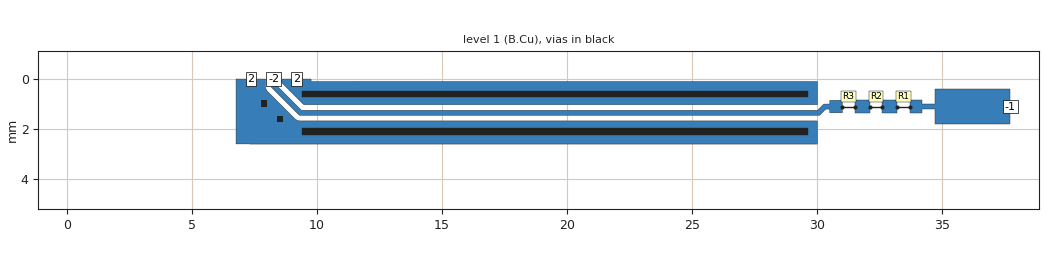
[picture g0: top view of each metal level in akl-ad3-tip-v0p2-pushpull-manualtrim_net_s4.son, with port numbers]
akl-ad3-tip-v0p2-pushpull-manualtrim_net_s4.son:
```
FTYP SONPROJ 19 ! Sonnet Project File
VER 18.01
HEADER
LIC antikernel2.1.51012 90e2ba8817c1 havequick azonenberg Level3Gold
DAT 09/28/2021 01:36:15
BUILT_BY_CREATED dxf 18.01 09/25/2021 05:46:11
BUILT_BY_SAVED sonnet 18.01
MDATE 09/28/2021 01:36:15
HDATE 09/28/2021 01:36:15
ANN Created by dxfgeo, Sonnet Software Inc.
END HEADER
DIM
ANG DEG
CAP PF
CON /OH
FREQ GHZ
IND NH
LNG MM
RES OH
END DIM
CONTROL
ABS
OPTIONS  -dj
SPEED 1
CACHE_ABS 2
Q_ACC N
END CONTROL
GEO
DRP1 RIGHT NONE 2
DRP1 TOP NONE 2
TMET "Free Space" 0 FREESPACE 376.7303136 0 0 0
BMET "Lossless" 0 SUP 0 0 0 0
MET "Copper 1oz thick" 1 TMM 58000000 0.5 0.035 2
MET "Unknown_metal" 1 VOL INF 0
BOX 2 37.75 4.075 3020 326 20 0
      5 1 1 0 0 0 0 "Air"
      0.035 4.3 1 0.02 0 0 0 "Soldermask"
      0.1016 3.2 1 0.002 0 0 0 "Panasonic R-F775"
TECHLAY METAL B.Cu L1D0 -1 -65534 
1 0 0 N 893 1 1 100 100 0 0 0 Y
END
END
TECHLAY VIA Via1 L2D0 -2 -65534 
VIA POLYGON
1 0 -1 N 899 1 1 100 100 0 0 0 Y
TOLEVEL 2 RING NOCOVERS
END
END
LORGN 0 160 U 
POR1 BOX
POLY 861 1
31
2 50 0 0 0 9.1875 0 
POR1 BOX
POLY 864 1
44
-2 50 0 0 0 8.275 0 
POR1 BOX
POLY 867 1
11
-1 50 0 0 0 37.75 1.1 
POR1 BOX
POLY 869 1
36
2 50 0 0 0 7.362985097 0 
SMD 1 "R1"
ID 913
GNDREF AUTO
SBOX 33.35 33.6 0.975 1.225
PBSHW N
LPOS 33.475 0.975
TYPE SPARAM 1
SMDP 1 33.725 1.1 R 3 1 
EXSMDP
GNDREF AUTO
TERMW FEED
END EXSMDP
SMDP 1 33.225 1.1 L 4 2 
EXSMDP
GNDREF AUTO
TERMW FEED
END EXSMDP
END
SMD 1 "R2"
ID 918
GNDREF AUTO
SBOX 32.25 32.5 0.975 1.225
PBSHW N
LPOS 32.375 0.975
TYPE SPARAM 1
SMDP 1 32.625 1.1 R 5 1 
EXSMDP
GNDREF AUTO
TERMW FEED
END EXSMDP
SMDP 1 32.125 1.1 L 6 2 
EXSMDP
GNDREF AUTO
TERMW FEED
END EXSMDP
END
SMD 1 "R3"
ID 923
GNDREF AUTO
SBOX 31.15 31.4 0.975 1.225
PBSHW N
LPOS 31.275 0.975
TYPE SPARAM 2
SMDP 1 31.525 1.1 R 7 1 
EXSMDP
GNDREF AUTO
TERMW FEED
END EXSMDP
SMDP 1 31.025 1.1 L 8 2 
EXSMDP
GNDREF AUTO
TERMW FEED
END EXSMDP
END
NUM 10
1 34 0 N 861 1 1 100 100 0 0 0 Y
TLAYNAM B.Cu INH
9.775 0.1
10.768 0.1
10.773 0.101
10.78 0.101
10.784 0.1
11.45 0.1
11.45 0.099
29.919 0.099
29.9245 0.1
30.026 0.1
30.026 1.025
29.9 1.025
29.9 1.025
9.524 1.025
9.515 1.024
9.504 1.022
9.494 1.019
9.484 1.015
9.479 1.012
9.473 1.009
9.467 1.004
9.465 1.003
9.456 0.996
8.63 0.17
8.616 0.152
8.611 0.142
8.607 0.132
8.604 0.121
8.602 0.111
8.602 0.109
8.6 0.099
8.6 0
9.775 0
9.775 0.1
END
1 5 0 N 863 1 1 100 100 0 0 0 Y
TLAYNAM B.Cu INH
32.625 0.85
32.625 1.35
33.225 1.35
33.225 0.85
32.625 0.85
END
1 47 0 N 864 1 1 100 100 0 0 0 Y
TLAYNAM B.Cu INH
8.375 0.234
9.391 1.25
30.034 1.25
30.258 1.026
30.265 1.02
30.274 1.014
30.282 1.009
30.291 1.006
30.301 1.003
30.31 1.001
30.32 1
30.525 1
30.525 0.85
31.025 0.85
31.025 1.35
30.525 1.35
30.525 1.2
30.366 1.2
30.155 1.41
30.149 1.417
30.142 1.424
30.135 1.43
30.126 1.436
30.118 1.441
30.109 1.444
30.099 1.447
30.09 1.449
30.08 1.45
9.345 1.45
9.335 1.449
9.326 1.447
9.316 1.444
9.307 1.441
9.299 1.436
9.29 1.43
9.283 1.424
8.201 0.342
8.195 0.335
8.189 0.326
8.184 0.318
8.181 0.309
8.178 0.299
8.176 0.29
8.175 0.28
8.175 0
8.375 0
8.375 0.234
END
1 5 0 N 866 1 1 100 100 0 0 0 Y
TLAYNAM B.Cu INH
31.525 0.85
31.525 1.35
32.125 1.35
32.125 0.85
31.525 0.85
END
1 13 0 N 867 1 1 100 100 0 0 0 Y
TLAYNAM B.Cu INH
37.75 1.8
34.725 1.8
34.725 1.2
34.225 1.2
34.225 1.35
33.725 1.35
33.725 0.85
34.225 0.85
34.225 1
34.725 1
34.725 0.4
37.75 0.4
37.75 1.8
END
1 39 0 N 869 1 1 100 100 0 0 0 Y
TLAYNAM B.Cu INH
7.951 0.26
7.949 0.271
7.949 0.273
7.956 0.342
7.973 0.401
8.004 0.457
8.031 0.491
8.034 0.494
8.04 0.502
8.044 0.506
8.044 0.507
8.045 0.508
8.047 0.509
8.05 0.511
8.056 0.516
9.109 1.569
9.114 1.576
9.115 1.577
9.148 1.604
9.155 1.611
9.167 1.621
9.228 1.653
9.283 1.669
9.323 1.674
9.335 1.674
9.346 1.676
9.347 1.676
9.365 1.674
29.919 1.674
29.9245 1.675
30.026 1.675
30.026 2.6
7.325 2.6
7.325 2.594
6.775 2.594
6.775 0.706
6.775 0
7.950970194 0
7.951 0.26
END
VIA POLYGON
1 5 -1 N 871 1 1 100 100 0 0 0 Y
TOLEVEL 2 RING NOCOVERS
TLAYNAM Via1 INH
9.4 0.475
9.4 0.725
29.65 0.725
29.65 0.475
9.4 0.475
END
VIA POLYGON
1 5 -1 N 872 1 1 100 100 0 0 0 Y
TOLEVEL 2 RING NOCOVERS
TLAYNAM Via1 INH
8.4 1.475
8.4 1.725
8.65 1.725
8.65 1.475
8.4 1.475
END
VIA POLYGON
1 5 -1 N 873 1 1 100 100 0 0 0 Y
TOLEVEL 2 RING NOCOVERS
TLAYNAM Via1 INH
9.4 1.975
9.4 2.225
29.65 2.225
29.65 1.975
9.4 1.975
END
VIA POLYGON
1 5 -1 N 874 1 1 100 100 0 0 0 Y
TOLEVEL 2 RING NOCOVERS
TLAYNAM Via1 INH
7.775 0.85
7.775 1.1
8.025 1.1
8.025 0.85
7.775 0.85
END
END GEO
OPT
MAX 100
END OPT
VARSWP
ENABLED Y
FREQ Y AY ABS_ENTRY 0.1 20.0 -1 300 
END
END VARSWP
SMDFILES
1 "../../../../../../../bulk/datasheets/Vishay/Resistors/FC/0402/FC0402-FlipChip-200 Ohm.s2p"
2 "../../../../../../../bulk/datasheets/Vishay/Resistors/FC/0402/FC0402-FlipChip-50 Ohm.s2p"
END SMDFILES
```
